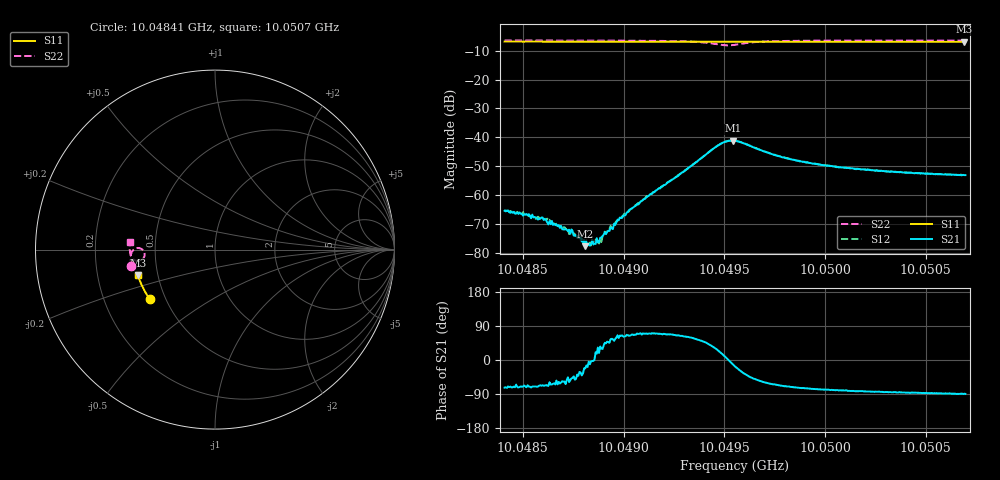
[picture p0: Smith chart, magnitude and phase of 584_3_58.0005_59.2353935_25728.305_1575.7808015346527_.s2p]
#  HZ  S  RI  R  50.00
! Rohde & Schwarz Vector Network Analyzer
! Rohde-Schwarz,ZNB20-2Port,1311601062101988,3.16
! Created: UTC 3/21/2024, 1:16:27 AM
! freq[Hz]  re:S11  im:S11  re:S21  im:S21  re:S12  im:S12  re:S22  im:S22
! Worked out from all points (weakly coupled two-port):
!   401 points, 10.04841 GHz to 10.0507 GHz, reference 50 ohm
!   highest |S21| = -41.12 dB at 10.04954 GHz (marker M1); lowest = -77.7 dB at 10.04881 GHz (marker M2)
!   lowest |S11| = -6.9 dB at 10.05069 GHz (marker M3), VSWR 2.65, Z = 19.3 - j6.95 ohm
!   |S11| at or under -10 dB: nowhere
!   |S22| runs from -8.1 to -6.4 dB; largest |S21 - S12| = 0.00064
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1.0048409e10  -0.3627 -0.2766  0.000159 -0.000511  0.000215 -0.000498  -0.4683 -0.0917
1.0048604e10  -0.37 -0.2662  0.000138 -0.000343  0.000167 -0.000335  -0.47 -0.0775
1.0048627e10  -0.3709 -0.2649  0.000114 -0.000288  0.000177 -0.000309  -0.4704 -0.0758
1.0048735e10  -0.3747 -0.2588  0.000128 -0.000169  0.000165 -0.000197  -0.4712 -0.0675
1.0048793e10  -0.3769 -0.2557  0.00012 -0.000102  0.000157 -8.25e-05  -0.4715 -0.0627
1.004881e10  -0.3776 -0.2548  0.000121 -4.85e-05  0.000141 -2.39e-05  -0.4714 -0.0614
1.0048833e10  -0.3783 -0.2535  0.00013 -2.58e-05  0.000149 -9.94e-06  -0.4714 -0.0596
1.0048861e10  -0.3793 -0.2519  0.000133 4.96e-05  0.00016 4.93e-05  -0.4718 -0.0572
1.0048884e10  -0.3801 -0.2506  0.000148 0.000106  0.000145 9.13e-05  -0.4717 -0.0553
1.0048913e10  -0.3811 -0.249  0.000152 0.000147  0.000131 0.000167  -0.4717 -0.0528
1.0048999e10  -0.384 -0.2442  0.000206 0.000387  0.000174 0.000411  -0.4715 -0.0448
1.0049039e10  -0.3855 -0.2418  0.000235 0.000535  0.000199 0.000536  -0.4712 -0.041
1.0049176e10  -0.3898 -0.2339  0.000464 0.00122  0.000384 0.00126  -0.4687 -0.026
1.0049468e10  -0.3983 -0.2169  0.00646 0.00315  0.00627 0.00354  -0.4089 0.00337
1.0049508e10  -0.3992 -0.2146  0.00841 0.00102  0.00832 0.00155  -0.3933 -0.0173
1.0049542e10  -0.4001 -0.2129  0.00862 -0.0017  0.00874 -0.00111  -0.3948 -0.0414
1.0049553e10  -0.4005 -0.2124  0.00832 -0.00254  0.00851 -0.00193  -0.3986 -0.0482
1.0049754e10  -0.4069 -0.2009  0.00209 -0.00443  0.00237 -0.00436  -0.4622 -0.0456
1.0049937e10  -0.4118 -0.1898  0.000838 -0.00341  0.0011 -0.00339  -0.4723 -0.0219
1.005032e10  -0.4211 -0.1665  0.000228 -0.00254  0.000393 -0.00251  -0.4754 0.0124
1.0050692e10  -0.4289 -0.1434  3.35e-05 -0.00221  0.000164 -0.00222  -0.474 0.0402
1.0050697e10  -0.4291 -0.1431  2.28e-05 -0.00221  0.000169 -0.0022  -0.474 0.0406
